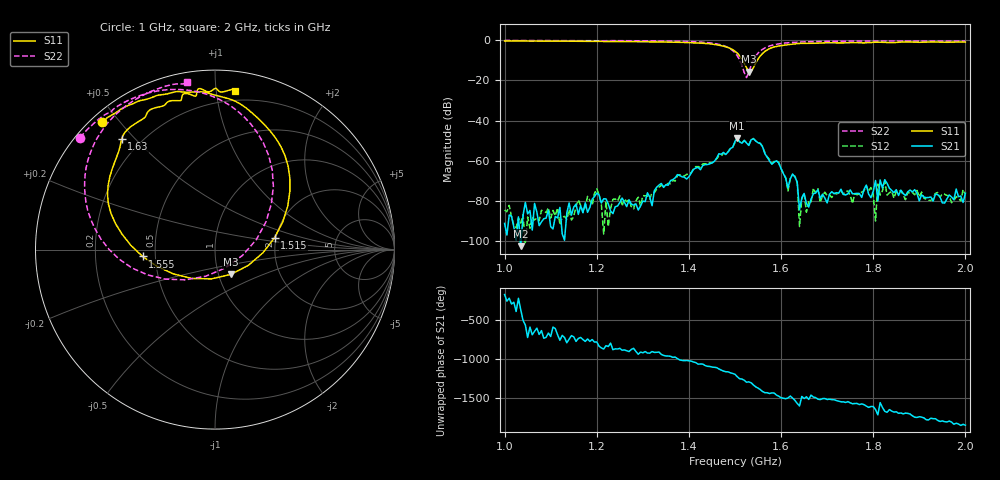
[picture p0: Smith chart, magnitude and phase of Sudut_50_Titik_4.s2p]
# Hz S RI R 50
! CMT, C1220, 16058040, 17.2.0/1
! Date: 14/08/2018 12:29:11
! Data: Format (Calibration Info)
! Freq  S11: Re/Im (F2)  S21: Re/Im (F2)  S12: Re/Im (F2)  S22: Re/Im (F2)
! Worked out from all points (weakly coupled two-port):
!   201 points, 1 GHz to 2 GHz, reference 50 ohm
!   highest |S21| = -48.83 dB at 1.505 GHz (marker M1); lowest = -102.5 dB at 1.035 GHz (marker M2)
!   lowest |S11| = -15.7 dB at 1.53 GHz (marker M3), VSWR 1.39, Z = 57.1 - j16.3 ohm
!   |S11| at or under -10 dB: 1.516 GHz to 1.549 GHz (32.13 MHz wide, 2.1 % of centre)
!   |S22| runs from -18.6 to -0.2 dB; largest |S21 - S12| = 0.00043
!   S11 on the Smith chart (normalised r, x): 1 GHz: 0.03, +0.45; 1.515 GHz: 1.96, +0.29; 1.555 GHz: 0.42, -0.04; 1.63 GHz: 0.13, +0.46; 2 GHz: 0.13, +1.13
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1e9  -0.6276 0.7097  -2.7e-05 -6.05e-06  -5.21e-05 2.88e-05  -0.7528 0.6245
1.035e9  -0.603 0.7329  7.53e-06 -3.28e-07  -1.94e-05 -2.05e-05  -0.729 0.6507
1.17e9  -0.4515 0.8158  4.63e-05 -2.15e-05  4.66e-05 -2.34e-05  -0.6165 0.7496
1.32e9  -0.2071 0.8807  -7.64e-05 -1.28e-06  -0.000161 1.21e-05  -0.4298 0.8541
1.335e9  -0.1863 0.8781  -0.000247 2.16e-05  -0.000187 0.000114  -0.4009 0.8638
1.45e9  0.1972 0.7694  0.000844 -0.00027  0.000826 -0.000301  0.0208 0.8384
1.5e9  0.4173 0.3259  -0.0011 -0.00284  -0.00103 -0.00268  0.3252 0.3532
1.505e9  0.4054 0.2427  -0.00287 -0.00221  -0.00266 -0.00223  0.3144 0.2569
1.515e9  0.3316 0.0656  -0.0027 -0.000359  -0.00273 -0.000451  0.2303 0.0554
1.53e9  0.0877 -0.1384  -0.00211 0.00114  -0.00218 0.00118  -0.0519 -0.1484
1.555e9  -0.4036 -0.0378  0.00164 0.00211  0.00155 0.00223  -0.5348 -0.0523
1.595e9  -0.5858 0.4063  0.000737 -0.000468  0.000774 -0.000453  -0.7265 0.3472
1.615e9  -0.5361 0.5484  0.000121 -0.000176  9.59e-05 -0.000148  -0.714 0.4748
1.63e9  -0.5203 0.6151  3.47e-05 -0.000397  3.51e-05 -0.000415  -0.6922 0.5449
1.64e9  -0.5017 0.6533  -5.55e-05 -2.38e-05  -2.27e-05 4.28e-06  -0.6759 0.584
1.67e9  -0.4002 0.7293  0.00011 -0.000103  0.000139 -0.000156  -0.6238 0.672
1.685e9  -0.3827 0.7517  2.84e-05 -0.000111  3.15e-06 -9.09e-05  -0.5993 0.7042
1.805e9  -0.1767 0.8665  -0.000295 0.000132  -3.12e-05 -5.48e-06  -0.4182 0.8514
1.81e9  -0.1686 0.8699  2.84e-06 0.000102  -0.000262 -2.72e-05  -0.4113 0.8551
1.825e9  -0.1336 0.8632  -0.000235 0.000243  -0.0002 0.000231  -0.3909 0.865
1.835e9  -0.1126 0.8549  -0.00019 8.6e-05  -0.000112 0.000113  -0.3775 0.872
2e9  0.1129 0.8844  0.00011 -0.00011  9.42e-05 -0.00011  -0.1539 0.9318
